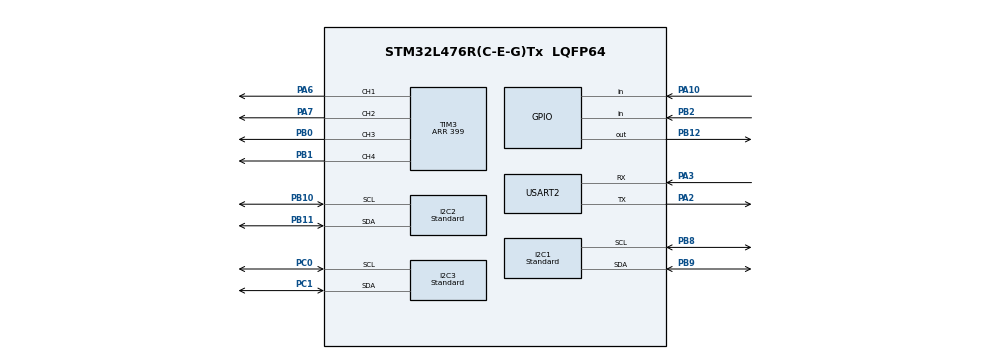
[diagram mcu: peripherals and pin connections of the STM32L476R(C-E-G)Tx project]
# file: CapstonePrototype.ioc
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I2C1.I2C_Speed_Mode=I2C_Standard
I2C1.Timing=0x00100D14
I2C2.I2C_Speed_Mode=I2C_Standard
I2C2.Timing=0x00100D14
I2C3.I2C_Speed_Mode=I2C_Standard
I2C3.Timing=0x00100D14
Mcu.Family=STM32L4
Mcu.Name=STM32L476R(C-E-G)Tx
Mcu.Package=LQFP64
NVIC.PriorityGroup=NVIC_PRIORITYGROUP_4
PA10.Signal=GPIO_Input
PA2.Mode=Asynchronous
PA2.Signal=USART2_TX
PA3.Mode=Asynchronous
PA3.Signal=USART2_RX
PA6.Signal=S_TIM3_CH1
PA7.Signal=S_TIM3_CH2
PB0.Signal=S_TIM3_CH3
PB1.Signal=S_TIM3_CH4
PB10.Mode=I2C
PB10.Signal=I2C2_SCL
PB11.Mode=I2C
PB11.Signal=I2C2_SDA
PB12.Signal=GPIO_Output
PB2.Signal=GPIO_Input
PB8.Mode=I2C
PB8.Signal=I2C1_SCL
PB9.Mode=I2C
PB9.Signal=I2C1_SDA
PC0.Mode=I2C
PC0.Signal=I2C3_SCL
PC1.Mode=I2C
PC1.Signal=I2C3_SDA
ProjectManager.HeapSize=0x200
ProjectManager.StackSize=0x400
ProjectManager.TargetToolchain=STM32CubeIDE
RCC.HSE_VALUE=8000000
RCC.HSI_VALUE=16000000
RCC.LSE_VALUE=32768
RCC.MSI_VALUE=4000000
RCC.VCOOutputFreq_Value=32000000
SH.S_TIM3_CH1.0=TIM3_CH1,PWM Generation1 CH1
SH.S_TIM3_CH2.0=TIM3_CH2,PWM Generation2 CH2
SH.S_TIM3_CH3.0=TIM3_CH3,PWM Generation3 CH3
SH.S_TIM3_CH4.0=TIM3_CH4,PWM Generation4 CH4
TIM3.Channel-PWM\ Generation1\ CH1=TIM_CHANNEL_1
TIM3.Channel-PWM\ Generation2\ CH2=TIM_CHANNEL_2
TIM3.Channel-PWM\ Generation3\ CH3=TIM_CHANNEL_3
TIM3.Channel-PWM\ Generation4\ CH4=TIM_CHANNEL_4
TIM3.Period=399
USART2.VirtualMode-Asynchronous=VM_ASYNC
VP_TIM3_VS_ClockSourceINT.Mode=Internal
board=custom

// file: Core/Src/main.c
/* USER CODE BEGIN Header */
/**
  ******************************************************************************
  * @file           : main.c
  * @brief          : Main program body
  ******************************************************************************
  * @attention
  *
  * Copyright (c) 2026 STMicroelectronics.
  * All rights reserved.
  *
  * This software is licensed under terms that can be found in the LICENSE file
  * in the root directory of this software component.
  * If no LICENSE file comes with this software, it is provided AS-IS.
  *
  ******************************************************************************
  */
/* USER CODE END Header */
#include "main.h"

/* USER CODE BEGIN Includes */
#include <math.h>
#include <stdio.h>
#include <string.h>
#include "bno085_hal.h"
#include "vl53l5cx_api.h"
#include "tof7.h"
#include "as5600.h"
#include "motor.h"
/* USER CODE END Includes */

/* USER CODE BEGIN PD */
/* RAD2DEG and the *_PERIOD_MS / MOTOR*_CMD constants live in main.h */
/* USER CODE END PD */

I2C_HandleTypeDef hi2c1;
I2C_HandleTypeDef hi2c2;
I2C_HandleTypeDef hi2c3;
TIM_HandleTypeDef htim3;
UART_HandleTypeDef huart2;
/* USER CODE BEGIN PV */
//For debugging via Putty
static char msg[128];

/* AS5600 encoders: enc1 on I2C1, enc2 on I2C2 */
static AS5600_TypeDef enc1, enc2;
static int enc1_ok, enc2_ok;

/* VL53L5CX: tof1 on I2C1, tof2 on I2C2 */
static VL53L5CX_Configuration tof1, tof2;
static VL53L5CX_ResultsData   res1, res2;
static int tof1_ok, tof2_ok;

/* VL53L7CX on I2C3 */
static int tof3_ok;

/* BNO085 (uses hi2c1 inside bno085_hal.c)*/
static int bno_ok;
volatile float roll_deg, pitch_deg, yaw_deg;
volatile int initRes, en1, en2;
volatile uint32_t rvCount;
static uint64_t lastTs;

/* Motors: IN1/IN2 and IN3/IN4 on TIM3 CH1..CH4 */
static Motor m1 = { &htim3, TIM_CHANNEL_1, &htim3, TIM_CHANNEL_2 };
static Motor m2 = { &htim3, TIM_CHANNEL_3, &htim3, TIM_CHANNEL_4 };

/* Last-run timestamps for the non-blocking task scheduler */
static uint32_t t_bno_print, t_tof, t_enc;
/* USER CODE END PV */

void SystemClock_Config(void);
static void MX_GPIO_Init(void);
static void MX_I2C1_Init(void);
static void MX_I2C2_Init(void);
static void MX_I2C3_Init(void);
static void MX_USART2_UART_Init(void);
static void MX_TIM3_Init(void);

/* USER CODE BEGIN 0 */

/* ---- Helpers Function------------------------------------------------------------ */

/* Send a plain string over USART2 for debugging*/
void uart_print(const char *s)
{
  HAL_UART_Transmit(&huart2, (uint8_t *)s, (uint16_t)strlen(s), 100);
}

/* Format and send msg[] */
static void uart_printf_msg(int n)
{
  if (n < 0) return;
  if ((size_t)n >= sizeof(msg)) n = (int)sizeof(msg) - 1;   /* snprintf truncated */
  HAL_UART_Transmit(&huart2, (uint8_t *)msg, (uint16_t)n, 100);
}

/* Non-blocking periodic timer: true once every period_ms. Wrap-safe. */
static int task_due(uint32_t *last, uint32_t period_ms)
{
  uint32_t now = HAL_GetTick();
  if ((now - *last) < period_ms) return 0;
  *last = now;
  return 1;
}

/* Format degrees with one decimal using integers only
   (so "Use float with printf" is NOT required) */
static int fmt_tenths(char *buf, size_t n, float deg)
{
  int t = (int)lroundf(deg * 10.0f);
  int a = (t < 0) ? -t : t;
  return snprintf(buf, n, "%s%d.%d", (t < 0) ? "-" : "", a / 10, a % 10);
}

static void i2c_scan(I2C_HandleTypeDef *bus, const char *name)
{
  snprintf(msg, sizeof(msg), "%s scan:", name);
  uart_print(msg);
  for (uint8_t a = 1; a < 128; a++)
  {
    if (HAL_I2C_IsDeviceReady(bus, (uint16_t)(a << 1), 1, 5) == HAL_OK)
    {
      snprintf(msg, sizeof(msg), " 0x%02X", a);
      uart_print(msg);
    }
  }
  uart_print("\r\n");
}

/* ---- ToF (VL53L5CX / VL53L7CX) ------------------------------------------ */

/* Print a 4x4 grid: distance_mm(status).
   'stride' = entries per zone in the arrays (VL53L5CX_NB_TARGET_PER_ZONE for the
   driver's results struct, 1 for tightly packed arrays such as tof7_read()). */
static void tof_print_grid(const char *name, const int16_t *d, const uint8_t *s, int stride)
{
  snprintf(msg, sizeof(msg), "[%s]\r\n", name);
  uart_print(msg);

  for (int row = 0; row < 4; row++)
  {
    int n = 0;
    for (int col = 0; col < 4; col++)
    {
      int i = stride * (row * 4 + col); //for spacing when print out UART only
      n += snprintf(msg + n, sizeof(msg) - n, "%5d(%2d) ", d[i], s[i]);
    }
    n += snprintf(msg + n, sizeof(msg) - n, "\r\n");
    uart_printf_msg(n);
  }
  uart_print("\r\n");
}

/* Bring up one VL53L5CX on the given I2C bus. Returns 0 on success. */
static int tof_start(VL53L5CX_Configuration *dev, I2C_HandleTypeDef *bus, const char *name)
{
  uint8_t alive = 0;

  dev->platform.address = VL53L5CX_DEFAULT_I2C_ADDRESS;   /* 0x52 */
  dev->platform.hi2c    = bus;

  VL53L5CX_Reset_Sensor(&dev->platform);

  if (vl53l5cx_is_alive(dev, &alive) || !alive)
  {
    snprintf(msg, sizeof(msg), "%s not found\r\n", name);
    uart_print(msg);
    return -1;
  }

  snprintf(msg, sizeof(msg), "%s alive, loading FW...\r\n", name);
  uart_print(msg);

  if (vl53l5cx_init(dev))                      /* uploads ~85 KB firmware */
  {
    snprintf(msg, sizeof(msg), "%s init FAILED\r\n", name);
    uart_print(msg);
    return -2;
  }

  vl53l5cx_set_resolution(dev, VL53L5CX_RESOLUTION_4X4);
  vl53l5cx_set_ranging_frequency_hz(dev, 10);
  vl53l5cx_start_ranging(dev);

  snprintf(msg, sizeof(msg), "%s ranging\r\n", name);
  uart_print(msg);
  return 0;
}

/* If new data is ready, read it and print it */
static void tof_poll(VL53L5CX_Configuration *dev, VL53L5CX_ResultsData *res, const char *name)
{
  uint8_t ready = 0;

  vl53l5cx_check_data_ready(dev, &ready);
  if (!ready) return;

  vl53l5cx_get_ranging_data(dev, res);
  tof_print_grid(name, res->distance_mm, res->target_status, VL53L5CX_NB_TARGET_PER_ZONE);
}

/* ---- AS5600 encoders ---------------------------------------------------- */

/* Probe one AS5600 and report magnet status. Returns 0 on success. */
static int as5600_start(AS5600_TypeDef *e, I2C_HandleTypeDef *bus, const char *name)
{
  uint8_t st = 0;

  e->i2cHandle = bus;
  e->i2cAddr   = AS5600_SLAVE_ADDRESS << 1;

  if (HAL_I2C_IsDeviceReady(bus, e->i2cAddr, 3, 20) != HAL_OK)
  {
    snprintf(msg, sizeof(msg), "%s not found\r\n", name);
    uart_print(msg);
    return -1;
  }
  if (AS5600_GetMagnetStatus(e, &st) != HAL_OK)
  {
    snprintf(msg, sizeof(msg), "%s status read FAILED\r\n", name);
    uart_print(msg);
    return -2;
  }

  snprintf(msg, sizeof(msg), "%s found, status=0x%02X (MD=%d ML=%d MH=%d)\r\n", name, st,
           (st & AS5600_MAGNET_DETECTED) != 0,
           (st & AS5600_AGC_MAX_GAIN_OVERFLOW) != 0,   /* ML: magnet too weak   */
           (st & AS5600_AGC_MIN_GAIN_OVERFLOW) != 0);  /* MH: magnet too strong */
  uart_print(msg);
  return 0;
}

/* Read and print raw angle, angle and magnet state */
static void as5600_poll(AS5600_TypeDef *e, const char *name)
{
  uint16_t raw = 0, ang = 0;
  uint8_t st = 0;

  if (AS5600_GetRawAngle(e, &raw)    != HAL_OK ||
      AS5600_GetAngle(e, &ang)       != HAL_OK ||
      AS5600_GetMagnetStatus(e, &st) != HAL_OK)
  {
    snprintf(msg, sizeof(msg), "[%s] read ERROR\r\n", name);
    uart_print(msg);
    return;
  }

  raw &= 0x0FFF;
  ang &= 0x0FFF;
  uint32_t t = (uint32_t)ang * 3600U / 4096U;     /* tenths of a degree, integer only */

  const char *mag = (st & AS5600_MAGNET_DETECTED)       ? "magnet OK"
                  : (st & AS5600_AGC_MAX_GAIN_OVERFLOW) ? "too weak"
                  : (st & AS5600_AGC_MIN_GAIN_OVERFLOW) ? "too strong"
                                                        : "NO MAGNET";

  snprintf(msg, sizeof(msg), "[%s] raw=%4u angle=%4u (%lu.%lu deg) %s\r\n",
           name, raw, ang, (unsigned long)(t / 10), (unsigned long)(t % 10), mag);
  uart_print(msg);
}

/* ---- BNO085 ------------------------------------------------------------- */

static void bno_enable_reports(void)
{
  en1 = bno085_enable(SH2_ROTATION_VECTOR, 10000);      /* 100 Hz */
  en2 = bno085_enable(SH2_LINEAR_ACCELERATION, 20000);  /* 50 Hz  */
}

/* Service the sensor, update roll/pitch/yaw on each new rotation vector, print at ~20 Hz */
static void bno_task(void)
{
  bno085_service();   /* call as often as possible */

  if (bno085_was_reset())
  {
    bno_enable_reports();
    uart_print("sensor reset, reports re-enabled\r\n");
  }

  sh2_SensorValue_t *v = bno085_value();

  /* Only act on a NEW rotation vector event */
  if (v->sensorId != SH2_ROTATION_VECTOR || v->timestamp == lastTs) return;

  lastTs = v->timestamp;
  rvCount++;

  float qi = v->un.rotationVector.i;
  float qj = v->un.rotationVector.j;
  float qk = v->un.rotationVector.k;
  float qr = v->un.rotationVector.real;

  float sinp = 2.0f * (qr * qj - qk * qi);
  if (sinp >  1.0f) sinp =  1.0f;    /* clamp to avoid NaN from asinf */
  if (sinp < -1.0f) sinp = -1.0f;

  roll_deg  = atan2f(2.0f * (qr * qi + qj * qk),
                     1.0f - 2.0f * (qi * qi + qj * qj)) * RAD2DEG;
  pitch_deg = asinf(sinp) * RAD2DEG;
  yaw_deg   = atan2f(2.0f * (qr * qk + qi * qj),
                     1.0f - 2.0f * (qj * qj + qk * qk)) * RAD2DEG;

  if (task_due(&t_bno_print, BNO_PRINT_PERIOD_MS))
  {
    char r[16], p[16], y[16];
    fmt_tenths(r, sizeof(r), roll_deg);
    fmt_tenths(p, sizeof(p), pitch_deg);
    fmt_tenths(y, sizeof(y), yaw_deg);

    uart_printf_msg(snprintf(msg, sizeof(msg), "R:%s P:%s Y:%s\r\n", r, p, y));
  }
}
/* USER CODE END 0 */

int main(void)
{

  /* MCU Configuration--------------------------------------------------------*/

  /* Reset of all peripherals, Initializes the Flash interface and the Systick. */
  HAL_Init();

  /* Configure the system clock */
  SystemClock_Config();

  /* Initialize all configured peripherals */
  MX_GPIO_Init();
  MX_I2C1_Init();
  MX_I2C2_Init();
  MX_I2C3_Init();
  MX_USART2_UART_Init();
  MX_TIM3_Init();
  /* USER CODE BEGIN 2 */
  uart_print("boot\r\n");

  /* ---- Motors ---- */
  motor_init(&m1);
  motor_init(&m2);
  motor_set(&m1, MOTOR1_CMD);
  motor_set(&m2, MOTOR2_CMD);

  /* ---- BNO085. A failure disables it but does not halt the rest of the system ---- */
  initRes = bno085_init();
  bno_ok  = (initRes == 0);
  if (bno_ok)
  {
    uart_print("bno085_init OK\r\n");
    bno_enable_reports();
    snprintf(msg, sizeof(msg), "enable RV=%d LA=%d\r\n", en1, en2);
    uart_print(msg);
  }
  else
  {
    uart_print("bno085_init FAILED\r\n");
  }

  /* ---- ToF sensors, one per bus. A failure here does not stop the others ---- */
  tof1_ok = (tof_start(&tof1, &hi2c1, "ToF1") == 0);
  tof2_ok = (tof_start(&tof2, &hi2c2, "ToF2") == 0);
  int r3  = tof7_start(&hi2c3);
  tof3_ok = (r3 == 0);
  snprintf(msg, sizeof(msg), "ToF3 %s\r\n",
           r3 == 0 ? "ranging" : (r3 == -1 ? "not found" : "init FAILED"));
  uart_print(msg);

  /* ---- Bus scan + encoders ---- */
  i2c_scan(&hi2c1, "I2C1");
  i2c_scan(&hi2c2, "I2C2");
  enc1_ok = (as5600_start(&enc1, &hi2c1, "ENC1") == 0);
  enc2_ok = (as5600_start(&enc2, &hi2c2, "ENC2") == 0);
  /* USER CODE END 2 */

  /* Infinite loop */
  /* USER CODE BEGIN WHILE */
  while (1)
  {
    /* Nothing below blocks: each task runs when its period elapses,
       and the BNO085 is serviced on every pass. */

    if (bno_ok) bno_task();

    if (task_due(&t_tof, TOF_POLL_PERIOD_MS))
    {
      if (tof1_ok) tof_poll(&tof1, &res1, "ToF1");
      if (tof2_ok) tof_poll(&tof2, &res2, "ToF2");
      if (tof3_ok)
      {
        int16_t d3[16]; uint8_t s3[16];
        if (tof7_read(d3, s3)) tof_print_grid("ToF3", d3, s3, 1);
      }
    }

    if (task_due(&t_enc, ENC_PRINT_PERIOD_MS))
    {
      if (enc1_ok) as5600_poll(&enc1, "ENC1");
      if (enc2_ok) as5600_poll(&enc2, "ENC2");
    }

    /* USER CODE END WHILE */

  }
}

void SystemClock_Config(void)
{
  RCC_OscInitTypeDef RCC_OscInitStruct = {0};
  RCC_ClkInitTypeDef RCC_ClkInitStruct = {0};

  /** Configure the main internal regulator output voltage
  */
  if (HAL_PWREx_ControlVoltageScaling(PWR_REGULATOR_VOLTAGE_SCALE1) != HAL_OK)
  {
    Error_Handler();
  }

  /** Initializes the RCC Oscillators according to the specified parameters
  * in the RCC_OscInitTypeDef structure.
  */
  RCC_OscInitStruct.OscillatorType = RCC_OSCILLATORTYPE_MSI;
  RCC_OscInitStruct.MSIState = RCC_MSI_ON;
  RCC_OscInitStruct.MSICalibrationValue = 0;
  RCC_OscInitStruct.MSIClockRange = RCC_MSIRANGE_6;
  RCC_OscInitStruct.PLL.PLLState = RCC_PLL_NONE;
  if (HAL_RCC_OscConfig(&RCC_OscInitStruct) != HAL_OK)
  {
    Error_Handler();
  }

  /** Initializes the CPU, AHB and APB buses clocks
  */
  RCC_ClkInitStruct.ClockType = RCC_CLOCKTYPE_HCLK|RCC_CLOCKTYPE_SYSCLK
                              |RCC_CLOCKTYPE_PCLK1|RCC_CLOCKTYPE_PCLK2;
  RCC_ClkInitStruct.SYSCLKSource = RCC_SYSCLKSOURCE_MSI;
  RCC_ClkInitStruct.AHBCLKDivider = RCC_SYSCLK_DIV1;
  RCC_ClkInitStruct.APB1CLKDivider = RCC_HCLK_DIV1;
  RCC_ClkInitStruct.APB2CLKDivider = RCC_HCLK_DIV1;

  if (HAL_RCC_ClockConfig(&RCC_ClkInitStruct, FLASH_LATENCY_0) != HAL_OK)
  {
    Error_Handler();
  }
}

static void MX_I2C1_Init(void)
{

  hi2c1.Instance = I2C1;
  hi2c1.Init.Timing = 0x00100D14;
  hi2c1.Init.OwnAddress1 = 0;
  hi2c1.Init.AddressingMode = I2C_ADDRESSINGMODE_7BIT;
  hi2c1.Init.DualAddressMode = I2C_DUALADDRESS_DISABLE;
  hi2c1.Init.OwnAddress2 = 0;
  hi2c1.Init.OwnAddress2Masks = I2C_OA2_NOMASK;
  hi2c1.Init.GeneralCallMode = I2C_GENERALCALL_DISABLE;
  hi2c1.Init.NoStretchMode = I2C_NOSTRETCH_DISABLE;
  if (HAL_I2C_Init(&hi2c1) != HAL_OK)
  {
    Error_Handler();
  }

  /** Configure Analogue filter
  */
  if (HAL_I2CEx_ConfigAnalogFilter(&hi2c1, I2C_ANALOGFILTER_ENABLE) != HAL_OK)
  {
    Error_Handler();
  }

  /** Configure Digital filter
  */
  if (HAL_I2CEx_ConfigDigitalFilter(&hi2c1, 0) != HAL_OK)
  {
    Error_Handler();
  }

}

static void MX_I2C2_Init(void)
{

  hi2c2.Instance = I2C2;
  hi2c2.Init.Timing = 0x00100D14;
  hi2c2.Init.OwnAddress1 = 0;
  hi2c2.Init.AddressingMode = I2C_ADDRESSINGMODE_7BIT;
  hi2c2.Init.DualAddressMode = I2C_DUALADDRESS_DISABLE;
  hi2c2.Init.OwnAddress2 = 0;
  hi2c2.Init.OwnAddress2Masks = I2C_OA2_NOMASK;
  hi2c2.Init.GeneralCallMode = I2C_GENERALCALL_DISABLE;
  hi2c2.Init.NoStretchMode = I2C_NOSTRETCH_DISABLE;
  if (HAL_I2C_Init(&hi2c2) != HAL_OK)
  {
    Error_Handler();
  }

  /** Configure Analogue filter
  */
  if (HAL_I2CEx_ConfigAnalogFilter(&hi2c2, I2C_ANALOGFILTER_ENABLE) != HAL_OK)
  {
    Error_Handler();
  }

  /** Configure Digital filter
  */
  if (HAL_I2CEx_ConfigDigitalFilter(&hi2c2, 0) != HAL_OK)
  {
    Error_Handler();
  }

}

static void MX_I2C3_Init(void)
{

  hi2c3.Instance = I2C3;
  hi2c3.Init.Timing = 0x00100D14;
  hi2c3.Init.OwnAddress1 = 0;
  hi2c3.Init.AddressingMode = I2C_ADDRESSINGMODE_7BIT;
  hi2c3.Init.DualAddressMode = I2C_DUALADDRESS_DISABLE;
  hi2c3.Init.OwnAddress2 = 0;
  hi2c3.Init.OwnAddress2Masks = I2C_OA2_NOMASK;
  hi2c3.Init.GeneralCallMode = I2C_GENERALCALL_DISABLE;
  hi2c3.Init.NoStretchMode = I2C_NOSTRETCH_DISABLE;
  if (HAL_I2C_Init(&hi2c3) != HAL_OK)
  {
    Error_Handler();
  }

  /** Configure Analogue filter
  */
  if (HAL_I2CEx_ConfigAnalogFilter(&hi2c3, I2C_ANALOGFILTER_ENABLE) != HAL_OK)
  {
    Error_Handler();
  }

  /** Configure Digital filter
  */
  if (HAL_I2CEx_ConfigDigitalFilter(&hi2c3, 0) != HAL_OK)
  {
    Error_Handler();
  }

}

static void MX_TIM3_Init(void)
{

  TIM_ClockConfigTypeDef sClockSourceConfig = {0};
  TIM_MasterConfigTypeDef sMasterConfig = {0};
  TIM_OC_InitTypeDef sConfigOC = {0};

  htim3.Instance = TIM3;
  htim3.Init.Prescaler = 0;
  htim3.Init.CounterMode = TIM_COUNTERMODE_UP;
  htim3.Init.Period = 399;
  htim3.Init.ClockDivision = TIM_CLOCKDIVISION_DIV1;
  htim3.Init.AutoReloadPreload = TIM_AUTORELOAD_PRELOAD_DISABLE;
  if (HAL_TIM_Base_Init(&htim3) != HAL_OK)
  {
    Error_Handler();
  }
  sClockSourceConfig.ClockSource = TIM_CLOCKSOURCE_INTERNAL;
  if (HAL_TIM_ConfigClockSource(&htim3, &sClockSourceConfig) != HAL_OK)
  {
    Error_Handler();
  }
  if (HAL_TIM_PWM_Init(&htim3) != HAL_OK)
  {
    Error_Handler();
  }
  sMasterConfig.MasterOutputTrigger = TIM_TRGO_RESET;
  sMasterConfig.MasterSlaveMode = TIM_MASTERSLAVEMODE_DISABLE;
  if (HAL_TIMEx_MasterConfigSynchronization(&htim3, &sMasterConfig) != HAL_OK)
  {
    Error_Handler();
  }
  sConfigOC.OCMode = TIM_OCMODE_PWM1;
  sConfigOC.Pulse = 0;
  sConfigOC.OCPolarity = TIM_OCPOLARITY_HIGH;
  sConfigOC.OCFastMode = TIM_OCFAST_DISABLE;
  if (HAL_TIM_PWM_ConfigChannel(&htim3, &sConfigOC, TIM_CHANNEL_1) != HAL_OK)
  {
    Error_Handler();
  }
  if (HAL_TIM_PWM_ConfigChannel(&htim3, &sConfigOC, TIM_CHANNEL_2) != HAL_OK)
  {
    Error_Handler();
  }
  if (HAL_TIM_PWM_ConfigChannel(&htim3, &sConfigOC, TIM_CHANNEL_3) != HAL_OK)
  {
    Error_Handler();
  }
  if (HAL_TIM_PWM_ConfigChannel(&htim3, &sConfigOC, TIM_CHANNEL_4) != HAL_OK)
  {
    Error_Handler();
  }
  HAL_TIM_MspPostInit(&htim3);

}

static void MX_USART2_UART_Init(void)
{

  huart2.Instance = USART2;
  huart2.Init.BaudRate = 115200;
  huart2.Init.WordLength = UART_WORDLENGTH_8B;
  huart2.Init.StopBits = UART_STOPBITS_1;
  huart2.Init.Parity = UART_PARITY_NONE;
  huart2.Init.Mode = UART_MODE_TX_RX;
  huart2.Init.HwFlowCtl = UART_HWCONTROL_NONE;
  huart2.Init.OverSampling = UART_OVERSAMPLING_16;
  huart2.Init.OneBitSampling = UART_ONE_BIT_SAMPLE_DISABLE;
  huart2.AdvancedInit.AdvFeatureInit = UART_ADVFEATURE_NO_INIT;
  if (HAL_UART_Init(&huart2) != HAL_OK)
  {
    Error_Handler();
  }

}

static void MX_GPIO_Init(void)
{
  GPIO_InitTypeDef GPIO_InitStruct = {0};

  /* GPIO Ports Clock Enable */
  __HAL_RCC_GPIOC_CLK_ENABLE();
  __HAL_RCC_GPIOA_CLK_ENABLE();
  __HAL_RCC_GPIOB_CLK_ENABLE();

  /*Configure GPIO pin Output Level */
  HAL_GPIO_WritePin(GPIOB, GPIO_PIN_12, GPIO_PIN_RESET);

  /*Configure GPIO pin : PB2 */
  GPIO_InitStruct.Pin = GPIO_PIN_2;
  GPIO_InitStruct.Mode = GPIO_MODE_INPUT;
  GPIO_InitStruct.Pull = GPIO_NOPULL;
  HAL_GPIO_Init(GPIOB, &GPIO_InitStruct);

  /*Configure GPIO pin : PB12 */
  GPIO_InitStruct.Pin = GPIO_PIN_12;
  GPIO_InitStruct.Mode = GPIO_MODE_OUTPUT_PP;
  GPIO_InitStruct.Pull = GPIO_NOPULL;
  GPIO_InitStruct.Speed = GPIO_SPEED_FREQ_LOW;
  HAL_GPIO_Init(GPIOB, &GPIO_InitStruct);

  /*Configure GPIO pin : PA10 */
  GPIO_InitStruct.Pin = GPIO_PIN_10;
  GPIO_InitStruct.Mode = GPIO_MODE_INPUT;
  GPIO_InitStruct.Pull = GPIO_NOPULL;
  HAL_GPIO_Init(GPIOA, &GPIO_InitStruct);

}

void Error_Handler(void)
{
  __disable_irq();
  while (1)
  {
  }
}
